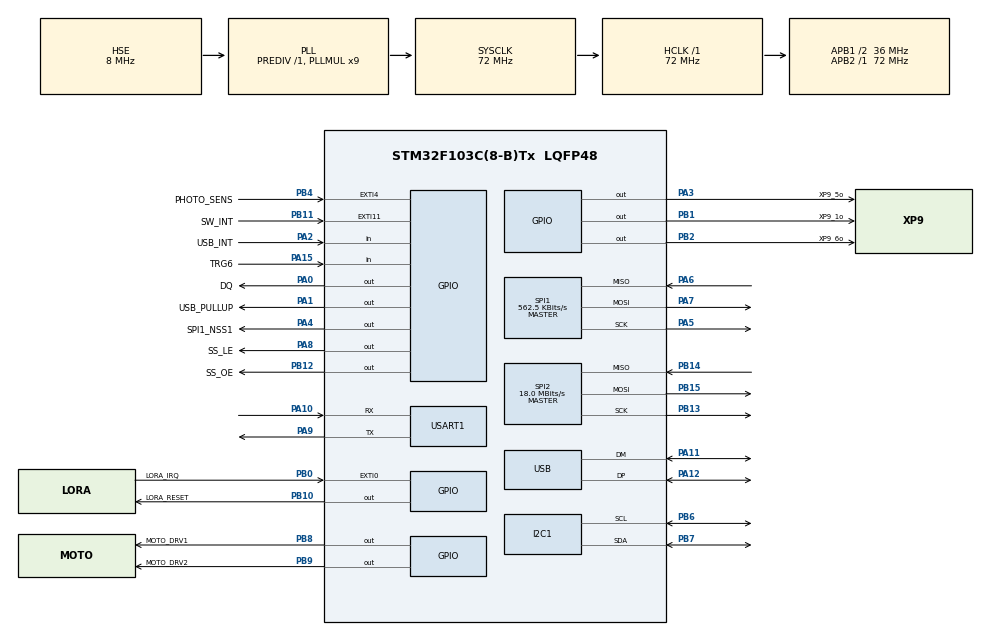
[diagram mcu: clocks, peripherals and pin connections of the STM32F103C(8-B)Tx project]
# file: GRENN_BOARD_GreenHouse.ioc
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Mcu.Family=STM32F1
Mcu.Name=STM32F103C(8-B)Tx
Mcu.Package=LQFP48
NVIC.EXTI0_IRQn=true\:0\:0\:false\:false\:true\:true\:true
NVIC.EXTI15_10_IRQn=true\:0\:0\:true\:false\:true\:true\:true
NVIC.EXTI4_IRQn=true\:0\:0\:false\:false\:true\:true\:true
NVIC.PriorityGroup=NVIC_PRIORITYGROUP_4
NVIC.TIM1_UP_IRQn=true\:2\:0\:true\:false\:true\:true\:true
NVIC.USART1_IRQn=true\:0\:0\:false\:false\:true\:true\:true
NVIC.USB_LP_CAN1_RX0_IRQn=true\:0\:0\:false\:false\:true\:false\:true
PA0-WKUP.GPIO_Label=DQ
PA0-WKUP.Signal=GPIO_Output
PA1.GPIO_Label=USB_PULLUP
PA1.Signal=GPIO_Output
PA10.Mode=Asynchronous
PA10.Signal=USART1_RX
PA11.Mode=Device
PA11.Signal=USB_DM
PA12.Mode=Device
PA12.Signal=USB_DP
PA13.Mode=Trace_Asynchronous_SW
PA13.Signal=SYS_JTMS-SWDIO
PA14.Mode=Trace_Asynchronous_SW
PA14.Signal=SYS_JTCK-SWCLK
PA15.GPIO_Label=TRG6
PA15.Signal=GPIO_Input
PA2.GPIO_Label=USB_INT
PA2.Signal=GPIO_Input
PA3.GPIO_Label=XP9_5o
PA3.Signal=GPIO_Output
PA4.GPIO_Label=SPI1_NSS1
PA4.Signal=GPIO_Output
PA5.Mode=Full_Duplex_Master
PA5.Signal=SPI1_SCK
PA6.Mode=Full_Duplex_Master
PA6.Signal=SPI1_MISO
PA7.Mode=Full_Duplex_Master
PA7.Signal=SPI1_MOSI
PA8.GPIO_Label=SS_LE
PA8.Signal=GPIO_Output
PA9.Mode=Asynchronous
PA9.Signal=USART1_TX
PB0.GPIO_Label=LORA_IRQ
PB0.Signal=GPXTI0
PB1.GPIO_Label=XP9_1o
PB1.Signal=GPIO_Output
PB10.GPIO_Label=LORA_RESET
PB10.Signal=GPIO_Output
PB11.GPIO_Label=SW_INT
PB11.GPIO_ModeDefaultEXTI=GPIO_MODE_IT_FALLING
PB11.Signal=GPXTI11
PB12.GPIO_Label=SS_OE
PB12.Signal=GPIO_Output
PB13.Mode=Full_Duplex_Master
PB13.Signal=SPI2_SCK
PB14.Mode=Full_Duplex_Master
PB14.Signal=SPI2_MISO
PB15.Mode=Full_Duplex_Master
PB15.Signal=SPI2_MOSI
PB2.GPIO_Label=XP9_6o
PB2.Signal=GPIO_Output
PB3.Mode=Trace_Asynchronous_SW
PB3.Signal=SYS_JTDO-TRACESWO
PB4.GPIO_Label=PHOTO_SENS
PB4.Signal=GPXTI4
PB6.Mode=I2C
PB6.Signal=I2C1_SCL
PB7.Mode=I2C
PB7.Signal=I2C1_SDA
PB8.GPIO_Label=MOTO_DRV1
PB8.Signal=GPIO_Output
PB9.GPIO_Label=MOTO_DRV2
PB9.Signal=GPIO_Output
PD0-OSC_IN.Mode=HSE-External-Oscillator
PD0-OSC_IN.Signal=RCC_OSC_IN
PD1-OSC_OUT.Mode=HSE-External-Oscillator
PD1-OSC_OUT.Signal=RCC_OSC_OUT
ProjectManager.HeapSize=0x800
ProjectManager.StackSize=0x800
ProjectManager.TargetToolchain=MDK-ARM V5
RCC.AHBFreq_Value=72000000
RCC.APB1CLKDivider=RCC_HCLK_DIV2
RCC.APB1Freq_Value=36000000
RCC.APB1TimFreq_Value=72000000
RCC.APB2Freq_Value=72000000
RCC.APB2TimFreq_Value=72000000
RCC.HCLKFreq_Value=72000000
RCC.PLLMUL=RCC_PLL_MUL9
RCC.PLLSourceVirtual=RCC_PLLSOURCE_HSE
RCC.RTCClockSelection=RCC_RTCCLKSOURCE_LSE
RCC.SYSCLKFreq_VALUE=72000000
RCC.SYSCLKSource=RCC_SYSCLKSOURCE_PLLCLK
RCC.USBFreq_Value=48000000
RCC.USBPrescaler=RCC_USBCLKSOURCE_PLL_DIV1_5
SPI1.BaudRatePrescaler=SPI_BAUDRATEPRESCALER_128
SPI1.CalculateBaudRate=562.5 KBits/s
SPI1.Direction=SPI_DIRECTION_2LINES
SPI1.Mode=SPI_MODE_MASTER
SPI1.VirtualType=VM_MASTER
SPI2.CalculateBaudRate=18.0 MBits/s
SPI2.Direction=SPI_DIRECTION_2LINES
SPI2.Mode=SPI_MODE_MASTER
SPI2.VirtualType=VM_MASTER
TIM1.ClockDivision=TIM_CLOCKDIVISION_DIV1
TIM1.Period=100
TIM1.Prescaler=35999
USART1.VirtualMode=VM_ASYNC
USB_DEVICE.CLASS_NAME_FS=CDC
USB_DEVICE.VirtualMode=Cdc
USB_DEVICE.VirtualModeFS=Cdc_FS
VP_CRC_VS_CRC.Mode=CRC_Activate
VP_TIM1_VS_ClockSourceINT.Mode=Internal
VP_USB_DEVICE_VS_USB_DEVICE_CDC_FS.Mode=CDC_FS
board=STM_TCTRL_New

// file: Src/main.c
/* USER CODE BEGIN Header */
/**
  ******************************************************************************
  * @file           : main.c
  * @brief          : Main program body
  ******************************************************************************
  * @attention
  *
  * <h2><center>&copy; Copyright (c) 2020 STMicroelectronics.
  * All rights reserved.</center></h2>
  *
  * This software component is licensed by ST under Ultimate Liberty license
  * SLA0044, the "License"; You may not use this file except in compliance with
  * the License. You may obtain a copy of the License at:
  *                             www.st.com/SLA0044
  *
  ******************************************************************************
  */
/* USER CODE END Header */
#include "main.h"
#include "crc.h"
#include "i2c.h"
#include "spi.h"
#include "tim.h"
#include "usart.h"
#include "usb_device.h"
#include "gpio.h"

/* USER CODE BEGIN Includes */
#include "system.h"
#include "sys_config.h"
/* USER CODE END Includes */

void SystemClock_Config(void);

int main(void) {

	/* MCU Configuration--------------------------------------------------------*/

	/* Reset of all peripherals, Initializes the Flash interface and the Systick. */
	HAL_Init();

	/* Configure the system clock */
	SystemClock_Config();

	/* Initialize all configured peripherals */
	MX_GPIO_Init();
	MX_USART1_UART_Init();
	MX_SPI1_Init();
	MX_SPI2_Init();
	MX_TIM1_Init();
	MX_I2C1_Init();
	MX_USB_DEVICE_Init();
	MX_CRC_Init();
	/* USER CODE BEGIN 2 */
	SysInit();
	int16_t temp_pos=0;
	/* USER CODE END 2 */

	/* Infinite loop */
	/* USER CODE BEGIN WHILE */
	while (1) {

		SystemTask();
		buttons_handler();

		if(SysState.temp_ctrl_f) {//TENP CONTROL ON
			if (SysState.view_mode_f) {

				//=================POSITION MODE====================
				//---------- BTN UP ------------
				if(BTN_UP==SHORT_PRESS) {
					BTN_UP=0;
					SetPosition();
				}
				if(BTN_UP==LONG_PRESS) {
					BTN_UP=0;
				}
				//------- BTN DOWN -----------
				if(BTN_DOWN==SHORT_PRESS) {
					BTN_DOWN=0;
					SetPosition();
				}
				if(BTN_DOWN==LONG_PRESS) {
					BTN_DOWN=0;
				}
				//---------- BTN SELECT -------------
				if(BTN_SEL==SHORT_PRESS) {
					BTN_SEL=0;
					SysState.view_mode_f ^= 1;
					SysState.ss_update_f = 1;
					SysCnt.view_mode = 0;
				}
				if(BTN_SEL==LONG_PRESS) {
					BTN_SEL=0;
					SetMaxPosition();

				}
			}else{
				//==============TEMP MODE (Default)=========================
				//---------- BTN UP ------------
				if(BTN_UP==SHORT_PRESS) {
					BTN_UP=0;
					SetTemp();
				}
				if(BTN_UP==LONG_PRESS) {
					BTN_UP=0;
				}

				//------- BTN DOWN -----------
				if(BTN_DOWN==SHORT_PRESS) {
					BTN_DOWN=0;
					SetTemp();
				}
				if(BTN_DOWN==LONG_PRESS) {
					BTN_DOWN=0;
				}
				//---------- BTN SELECT -------------
				if(BTN_SEL==SHORT_PRESS) {
					BTN_SEL=0;
					SysState.view_mode_f ^= 1;
					SysState.ss_update_f = 1;
					SysCnt.view_mode = 0;
				}
				if(BTN_SEL==LONG_PRESS) {
					BTN_SEL=0;
					SysState.temp_ctrl_f^=1;
					SysState.ss_update_f = 1;
					SysVarRW(WR,&SV[vn_T_CTRL_F]);
				}
			}
		}else{
			if(BTN_SEL==LONG_PRESS) {
				BTN_SEL=0;
				SysState.temp_ctrl_f^=1;
				SysState.ss_update_f = 1;
				SysVarRW(WR,&SV[vn_T_CTRL_F]);
			}
		}
	}
/* USER CODE END WHILE */

}

void SystemClock_Config(void) {
	RCC_OscInitTypeDef RCC_OscInitStruct = {0};
	RCC_ClkInitTypeDef RCC_ClkInitStruct = {0};
	RCC_PeriphCLKInitTypeDef PeriphClkInit = {0};

	/** Initializes the RCC Oscillators according to the specified parameters
	* in the RCC_OscInitTypeDef structure.
	*/
	RCC_OscInitStruct.OscillatorType = RCC_OSCILLATORTYPE_HSE;
	RCC_OscInitStruct.HSEState = RCC_HSE_ON;
	RCC_OscInitStruct.HSEPredivValue = RCC_HSE_PREDIV_DIV1;
	RCC_OscInitStruct.HSIState = RCC_HSI_ON;
	RCC_OscInitStruct.PLL.PLLState = RCC_PLL_ON;
	RCC_OscInitStruct.PLL.PLLSource = RCC_PLLSOURCE_HSE;
	RCC_OscInitStruct.PLL.PLLMUL = RCC_PLL_MUL9;
	if (HAL_RCC_OscConfig(&RCC_OscInitStruct) != HAL_OK) {
		Error_Handler();
	}
	/** Initializes the CPU, AHB and APB buses clocks
	*/
	RCC_ClkInitStruct.ClockType = RCC_CLOCKTYPE_HCLK|RCC_CLOCKTYPE_SYSCLK
	                              |RCC_CLOCKTYPE_PCLK1|RCC_CLOCKTYPE_PCLK2;
	RCC_ClkInitStruct.SYSCLKSource = RCC_SYSCLKSOURCE_PLLCLK;
	RCC_ClkInitStruct.AHBCLKDivider = RCC_SYSCLK_DIV1;
	RCC_ClkInitStruct.APB1CLKDivider = RCC_HCLK_DIV2;
	RCC_ClkInitStruct.APB2CLKDivider = RCC_HCLK_DIV1;

	if (HAL_RCC_ClockConfig(&RCC_ClkInitStruct, FLASH_LATENCY_2) != HAL_OK) {
		Error_Handler();
	}
	PeriphClkInit.PeriphClockSelection = RCC_PERIPHCLK_USB;
	PeriphClkInit.UsbClockSelection = RCC_USBCLKSOURCE_PLL_DIV1_5;
	if (HAL_RCCEx_PeriphCLKConfig(&PeriphClkInit) != HAL_OK) {
		Error_Handler();
	}
}

void Error_Handler(void) {
}

/************************ (C) COPYRIGHT STMicroelectronics *****END OF FILE****/
